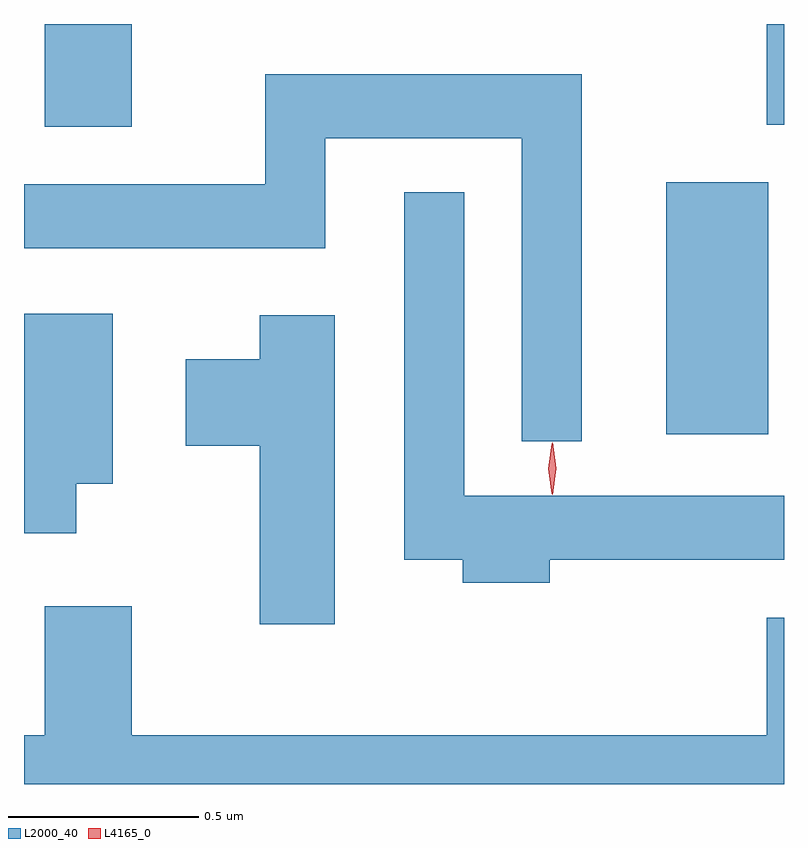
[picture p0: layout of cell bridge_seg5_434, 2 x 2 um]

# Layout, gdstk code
import gdstk
lib = gdstk.Library(unit=1e-6, precision=1e-09)
def R(c, l, rs):  # rectangles x0, y0, x1, y1
    for r in rs: c.add(gdstk.rectangle(r[:2], r[2:], *l))
def P(c, l, *ps):  # polygons
    for p in ps: c.add(gdstk.Polygon(p, *l))
L2000_40 = (2000, 40)
L4165_0 = (4165, 0)

bridge_seg5_434 = lib.new_cell('bridge_seg5_434')
R(bridge_seg5_434, L2000_40, [(533.456,1513.356,533.724,1514.019), (531.821,1514.166,532.049,1514.436), (533.721,1514.171,533.766,1514.436)])
P(bridge_seg5_434, L2000_40, [(533.234,1514.304),(532.401,1514.304),(532.401,1514.014),(531.766,1514.014),(531.766,1513.846),(532.559,1513.846),(532.559,1514.136),(533.076,1514.136),(533.076,1513.338),(533.234,1513.338)],
  [(533.149,1513.026),(533.766,1513.026),(533.766,1513.194),(532.924,1513.194),(532.924,1513.993),(532.766,1513.993),(532.766,1513.026),(532.921,1513.026),(532.921,1512.966),(533.149,1512.966)],
  [(531.904,1513.226),(531.999,1513.226),(531.999,1513.674),(531.766,1513.674),(531.766,1513.096),(531.904,1513.096)],
  [(532.584,1513.669),(532.386,1513.669),(532.386,1513.554),(532.191,1513.554),(532.191,1513.326),(532.386,1513.326),(532.386,1512.856),(532.584,1512.856)],
  [(533.766,1512.874),(533.721,1512.874),(533.721,1512.564),(532.049,1512.564),(532.049,1512.904),(531.821,1512.904),(531.821,1512.564),(531.766,1512.564),(531.766,1512.436),(533.766,1512.436)])
P(bridge_seg5_434, L4165_0, [(533.157,1513.197),(533.157,1513.197),(533.147,1513.267),(533.157,1513.336),(533.157,1513.336),(533.158,1513.336),(533.167,1513.267),(533.158,1513.197)],
  [(533.156,1513.199),(533.155,1513.2),(533.146,1513.266),(533.155,1513.332),(533.156,1513.333),(533.156,1513.332),(533.166,1513.266),(533.156,1513.2)])

lib.write_gds('bridge_seg5_434.gds')
